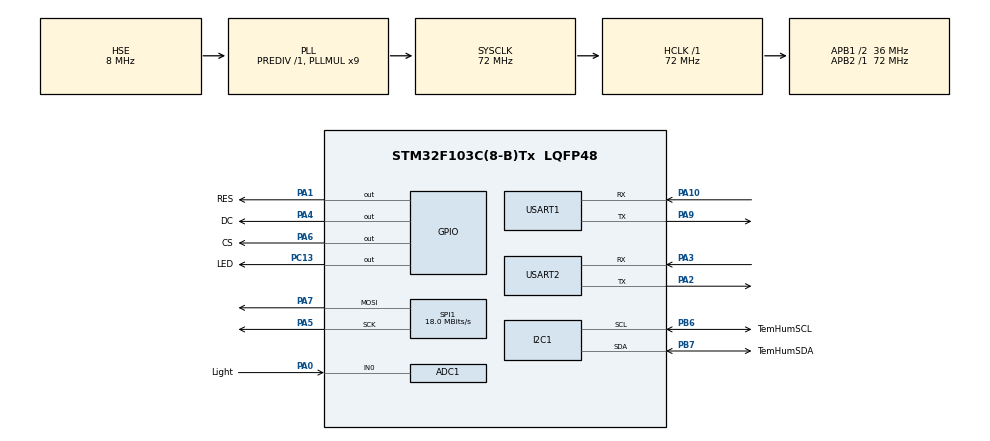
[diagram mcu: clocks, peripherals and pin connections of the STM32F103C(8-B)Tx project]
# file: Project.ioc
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ADC1.Channel-18\#ChannelRegularConversion=ADC_CHANNEL_0
ADC1.ContinuousConvMode=DISABLE
ADC1.DiscontinuousConvMode=DISABLE
ADC1.EnableRegularConversion=ENABLE
ADC1.NbrOfConversionFlag=1
ADC1.Rank-18\#ChannelRegularConversion=1
ADC1.SamplingTime-18\#ChannelRegularConversion=ADC_SAMPLETIME_239CYCLES_5
ADC1.master=1
Mcu.Family=STM32F1
Mcu.Name=STM32F103C(8-B)Tx
Mcu.Package=LQFP48
NVIC.PriorityGroup=NVIC_PRIORITYGROUP_4
NVIC.USART2_IRQn=true\:0\:0\:false\:false\:true\:true\:true\:true
PA0-WKUP.GPIO_Label=Light
PA0-WKUP.Signal=ADCx_IN0
PA1.GPIO_Label=RES
PA1.Signal=GPIO_Output
PA10.Mode=Asynchronous
PA10.Signal=USART1_RX
PA13.Mode=Serial_Wire
PA13.Signal=SYS_JTMS-SWDIO
PA14.Mode=Serial_Wire
PA14.Signal=SYS_JTCK-SWCLK
PA2.Mode=Asynchronous
PA2.Signal=USART2_TX
PA3.Mode=Asynchronous
PA3.Signal=USART2_RX
PA4.GPIO_Label=DC
PA4.Signal=GPIO_Output
PA5.Mode=TX_Only_Simplex_Unidirect_Master
PA5.Signal=SPI1_SCK
PA6.GPIO_Label=CS
PA6.Signal=GPIO_Output
PA7.Mode=TX_Only_Simplex_Unidirect_Master
PA7.Signal=SPI1_MOSI
PA9.Mode=Asynchronous
PA9.Signal=USART1_TX
PB6.GPIO_Label=TemHumSCL
PB6.Mode=I2C
PB6.Signal=I2C1_SCL
PB7.GPIO_Label=TemHumSDA
PB7.Mode=I2C
PB7.Signal=I2C1_SDA
PC13-TAMPER-RTC.GPIO_Label=LED
PC13-TAMPER-RTC.PinState=GPIO_PIN_SET
PC13-TAMPER-RTC.Signal=GPIO_Output
PD0-OSC_IN.Mode=HSE-External-Oscillator
PD0-OSC_IN.Signal=RCC_OSC_IN
PD1-OSC_OUT.Mode=HSE-External-Oscillator
PD1-OSC_OUT.Signal=RCC_OSC_OUT
ProjectManager.HeapSize=0x200
ProjectManager.StackSize=0x400
ProjectManager.TargetToolchain=MDK-ARM V5.32
RCC.ADCPresc=RCC_ADCPCLK2_DIV6
RCC.AHBFreq_Value=72000000
RCC.APB1CLKDivider=RCC_HCLK_DIV2
RCC.APB1Freq_Value=36000000
RCC.APB1TimFreq_Value=72000000
RCC.APB2Freq_Value=72000000
RCC.APB2TimFreq_Value=72000000
RCC.HCLKFreq_Value=72000000
RCC.PLLMUL=RCC_PLL_MUL9
RCC.PLLSourceVirtual=RCC_PLLSOURCE_HSE
RCC.SYSCLKFreq_VALUE=72000000
RCC.SYSCLKSource=RCC_SYSCLKSOURCE_PLLCLK
RCC.USBFreq_Value=72000000
SH.ADCx_IN0.0=ADC1_IN0,IN0
SPI1.BaudRatePrescaler=SPI_BAUDRATEPRESCALER_4
SPI1.CalculateBaudRate=18.0 MBits/s
SPI1.Direction=SPI_DIRECTION_2LINES
SPI1.Mode=SPI_MODE_MASTER
SPI1.VirtualType=VM_MASTER
USART1.VirtualMode=VM_ASYNC
USART2.VirtualMode=VM_ASYNC
board=custom

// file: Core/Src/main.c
/* USER CODE BEGIN Header */
/**
  ******************************************************************************
  * @file           : main.c
  * @brief          : Main program body
  ******************************************************************************
  * @attention
  *
  * Copyright (c) 2022 STMicroelectronics.
  * All rights reserved.
  *
  * This software is licensed under terms that can be found in the LICENSE file
  * in the root directory of this software component.
  * If no LICENSE file comes with this software, it is provided AS-IS.
  *
  ******************************************************************************
  */
/* USER CODE END Header */
#include "main.h"
#include "adc.h"
#include "i2c.h"
#include "spi.h"
#include "usart.h"
#include "gpio.h"

/* USER CODE BEGIN Includes */
#include <stdio.h>
#include <string.h>
#include "oled.h"
/* USER CODE END Includes */

void SystemClock_Config(void);

/* USER CODE BEGIN 0 */

void initView(){

	OLED_ShowChinese(0,0,0,16);
	OLED_ShowChinese(16*1,0,1,16);
	OLED_ShowChinese(16*2,0,4,16);

	OLED_ShowChinese(0,16*1,2,16);
	OLED_ShowChinese(16*1,16*1,3,16);
	OLED_ShowChinese(16*2,16*1,4,16);

	OLED_ShowString(16*0,16*2,"ADC",16);
	OLED_ShowChinese(16*2-8,16*2,4,16);
	OLED_Refresh();
}

unsigned char data[50];
/* USER CODE END 0 */

int main(void)
{

  /* MCU Configuration--------------------------------------------------------*/

  /* Reset of all peripherals, Initializes the Flash interface and the Systick. */
  HAL_Init();

  /* Configure the system clock */
  SystemClock_Config();

  /* Initialize all configured peripherals */
  MX_GPIO_Init();
  MX_ADC1_Init();
  MX_USART2_UART_Init();
  MX_I2C1_Init();
  MX_SPI1_Init();
  MX_USART1_UART_Init();
  /* USER CODE BEGIN 2 */

	HAL_ADCEx_Calibration_Start(&hadc1);
  /* USER CODE END 2 */

  /* Infinite loop */
  while (1)
  {

    /* USER CODE BEGIN 3 */

		HAL_ADC_Start(&hadc1);	//开启ADC转换
		HAL_ADC_PollForConversion(&hadc1,10);	//等待ADC转换完成
		unsigned int adc = HAL_ADC_GetValue(&hadc1);	//获取转换完成的结果

		//显示ADC值 12位数
		sprintf((char *)data,":%d ",adc);
		OLED_ShowString(16*3-8,16*2,data,16);

		//显示电压值
		float voltage;
		voltage = 3.3/4096*adc;
		sprintf((char *)data,":%.2fV ",voltage);
		OLED_ShowString(16*3,16*1,data,16);

		//显示电压值
		float Light;
		Light = (5/2.0)*(voltage*100.0);
		sprintf((char *)data,":%.fLux ",Light);
		OLED_ShowString(16*3,16*0,data,16);
		OLED_Refresh();

		//串口发送数据
		sprintf((char *)data,"ADC:%d\n电压:%.2fV\n光照:%.2fLux",adc,voltage,Light);
		HAL_UART_Transmit(&huart2,data,strlen(data),1000);
		HAL_Delay(100);
		HAL_GPIO_TogglePin(LED_GPIO_Port,LED_Pin);
  }
  /* USER CODE END 3 */
}

void SystemClock_Config(void)
{
  RCC_OscInitTypeDef RCC_OscInitStruct = {0};
  RCC_ClkInitTypeDef RCC_ClkInitStruct = {0};
  RCC_PeriphCLKInitTypeDef PeriphClkInit = {0};

  /** Initializes the RCC Oscillators according to the specified parameters
  * in the RCC_OscInitTypeDef structure.
  */
  RCC_OscInitStruct.OscillatorType = RCC_OSCILLATORTYPE_HSE;
  RCC_OscInitStruct.HSEState = RCC_HSE_ON;
  RCC_OscInitStruct.HSEPredivValue = RCC_HSE_PREDIV_DIV1;
  RCC_OscInitStruct.HSIState = RCC_HSI_ON;
  RCC_OscInitStruct.PLL.PLLState = RCC_PLL_ON;
  RCC_OscInitStruct.PLL.PLLSource = RCC_PLLSOURCE_HSE;
  RCC_OscInitStruct.PLL.PLLMUL = RCC_PLL_MUL9;
  if (HAL_RCC_OscConfig(&RCC_OscInitStruct) != HAL_OK)
  {
    Error_Handler();
  }

  /** Initializes the CPU, AHB and APB buses clocks
  */
  RCC_ClkInitStruct.ClockType = RCC_CLOCKTYPE_HCLK|RCC_CLOCKTYPE_SYSCLK
                              |RCC_CLOCKTYPE_PCLK1|RCC_CLOCKTYPE_PCLK2;
  RCC_ClkInitStruct.SYSCLKSource = RCC_SYSCLKSOURCE_PLLCLK;
  RCC_ClkInitStruct.AHBCLKDivider = RCC_SYSCLK_DIV1;
  RCC_ClkInitStruct.APB1CLKDivider = RCC_HCLK_DIV2;
  RCC_ClkInitStruct.APB2CLKDivider = RCC_HCLK_DIV1;

  if (HAL_RCC_ClockConfig(&RCC_ClkInitStruct, FLASH_LATENCY_2) != HAL_OK)
  {
    Error_Handler();
  }
  PeriphClkInit.PeriphClockSelection = RCC_PERIPHCLK_ADC;
  PeriphClkInit.AdcClockSelection = RCC_ADCPCLK2_DIV6;
  if (HAL_RCCEx_PeriphCLKConfig(&PeriphClkInit) != HAL_OK)
  {
    Error_Handler();
  }
}

void Error_Handler(void)
{
  __disable_irq();
  while (1)
  {
  }
}
